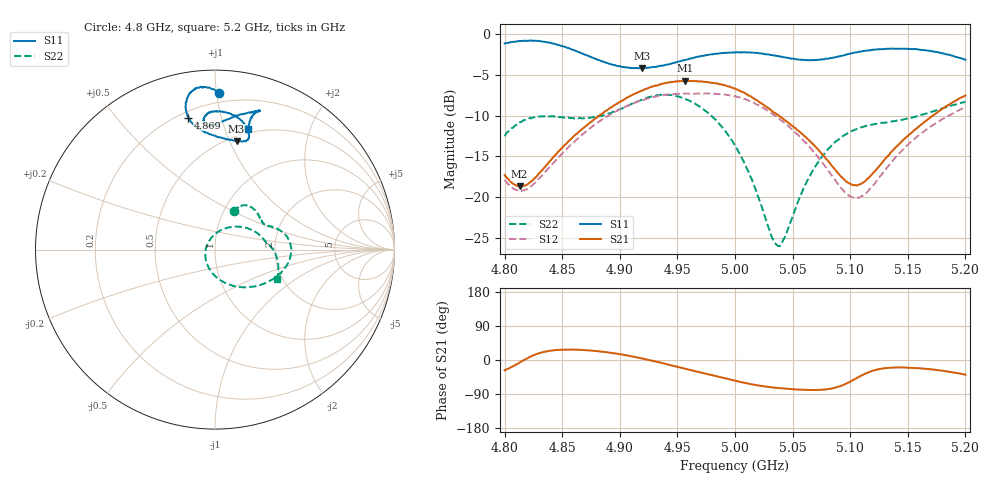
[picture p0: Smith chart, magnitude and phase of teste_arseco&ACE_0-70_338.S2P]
! Network Analyzer HP8722D
! Hewlett-Packard
! Data name: Linha & Wilkinson
! Saver's name: Rodrigo Anjos
! Comments: Teste da utilização de aquisição
! continua pelo VNA HP8722D
! Time and date: 8/5/2025 15:34
!  Frequency  S11  S21  S12  S22
# HZ  S  MA R 50
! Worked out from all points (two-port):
!   401 points, 4.8 GHz to 5.2 GHz, reference 50 ohm
!   highest |S21| = -5.73 dB at 4.957 GHz (marker M1); lowest = -18.7 dB at 4.813 GHz (marker M2)
!   |S21| within 3 dB of the highest: 4.895 GHz to 5.025 GHz (129.9 MHz wide, 2.62 % of centre); 5.185228 GHz to end of sweep
!   lowest |S11| = -4.2 dB at 4.919 GHz (marker M3), VSWR 4.19, Z = 27.3 + j53 ohm
!   |S11| at or under -10 dB: nowhere
!   |S22| runs from -26.0 to -7.4 dB; largest |S21 - S12| = 0.89
!   S11 on the Smith chart (normalised r, x): 4.8 GHz: 0.14, +1.02; 4.869 GHz: 0.24, +0.79; 5.2 GHz: 0.46, +1.20
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4.8e9  0.8732 88.6  0.1367 -27.1  0.1273 100.2  0.2366 63.9
4.813e9  0.9038 92.3  0.1163 -6.9  0.1094 118.1  0.2866 59.1
4.841e9  0.8769 99.5  0.1716 25.1  0.1584 148.6  0.313 41.9
4.867e9  0.7595 101.6  0.2605 26.4  0.24 153.6  0.3039 30.3
4.869e9  0.7503 101.4  0.2671 26.0  0.2468 153.5  0.3043 29.9
4.896e9  0.6426 92.1  0.3679 17.4  0.3337 147.6  0.3378 22.3
4.919e9  0.6149 78.8  0.4494 4.4  0.392 138.2  0.3951 13.3
4.934e9  0.6345 73.8  0.4865 -6.2  0.4192 129.5  0.4222 3.2
4.957e9  0.6941 74.9  0.5168 -23.3  0.4305 115.1  0.4 -16.1
4.981e9  0.7511 81.1  0.5005 -40.6  0.4297 99.7  0.3073 -41.1
5e9  0.7692 87.5  0.4622 -54.7  0.415 86.5  0.2067 -68.8
5.019e9  0.7658 92.4  0.3926 -66.5  0.3687 73.5  0.1058 -109.7
5.032e9  0.7422 94.4  0.3377 -72.1  0.3247 66.4  0.05708 -160.8
5.037e9  0.7317 94.8  0.3195 -73.9  0.3073 64.0  0.05054 166.9
5.043e9  0.7177 94.9  0.2969 -75.6  0.285 61.8  0.05643 129.2
5.067e9  0.6902 92.8  0.214 -79.2  0.1945 57.9  0.1431 58.9
5.085e9  0.7155 86.8  0.1532 -74.4  0.1327 64.5  0.2112 34.9
5.103e9  0.7655 79.4  0.1185 -52.1  0.09891 90.1  0.2571 19.7
5.115e9  0.7923 75.4  0.1298 -33.4  0.1081 111.2  0.2748 13.1
5.134e9  0.8085 72.5  0.1828 -20.5  0.158 125.9  0.2894 7.4
5.17e9  0.7849 74.0  0.3096 -24.7  0.2712 120.6  0.3323 -2.2
5.2e9  0.6944 74.8  0.4195 -38.7  0.3547 109.1  0.3834 -25.4
